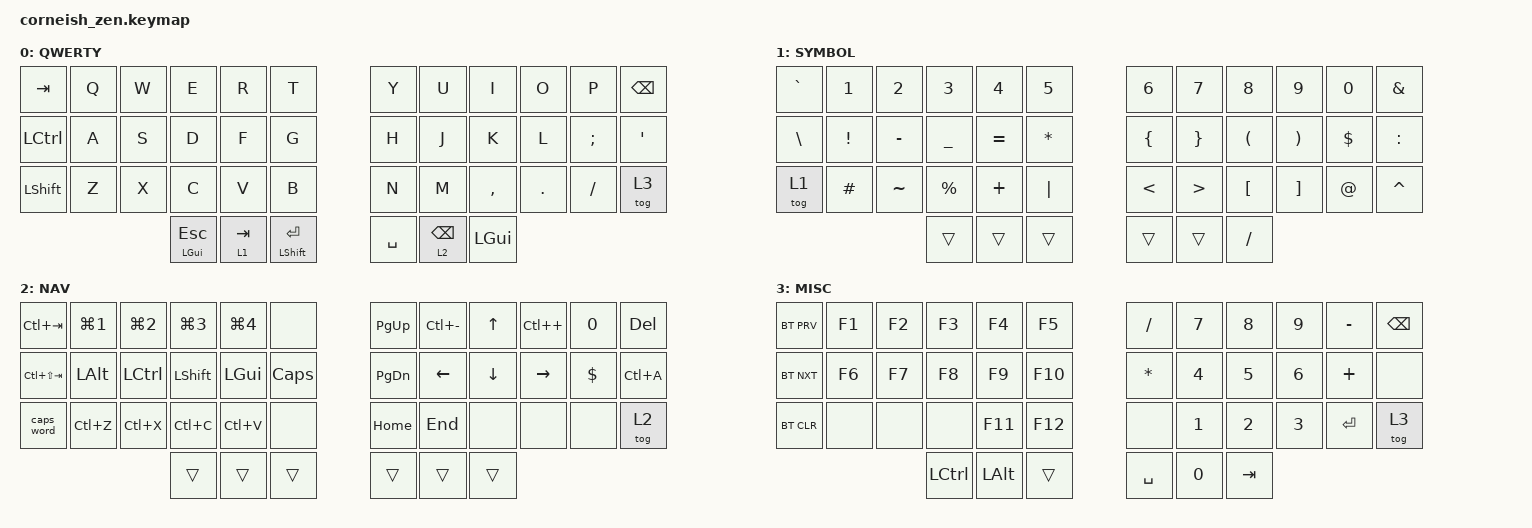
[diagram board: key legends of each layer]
/*
 * Copyright (c) 2020 The ZMK Contributors
 *
 * SPDX-License-Identifier: MIT
 */

#include <behaviors.dtsi>
#include <dt-bindings/zmk/bt.h>
#include <dt-bindings/zmk/keys.h>

&lt { quick-tap-ms = <120>; };

&mt { quick-tap-ms = <120>; };

/ {
    chosen {
        zmk,matrix_transform = &default_transform;

        // zmk,matrix_transform = &five_column_transform;
    };
};

/ {
    keymap {
        compatible = "zmk,keymap";

        default_layer {
            display-name = "QWERTY";

            // --------------------------------------------------------------------------------
            // |  TAB |  Q  |  W  |  E  |  R  |  T  |   |  Y  |  U   |  I  |  O  |  P  | BSPC |
            // | CTRL |  A  |  S  |  D  |  F  |  G  |   |  H  |  J   |  K  |  L  |  ;  |  '   |
            // | SHFT |  Z  |  X  |  C  |  V  |  B  |   |  N  |  M   |  ,  |  .  |  /  | ESC  |
            //                    | GUI | LWR | SPC |   | ENT | RSE  | ALT |

            bindings = <
&kp TAB         &kp Q  &kp W  &kp E                &kp R      &kp T                   &kp Y      &kp U            &kp I         &kp O    &kp P     &kp BSPC
&kp LCTRL       &kp A  &kp S  &kp D                &kp F      &kp G                   &kp H      &kp J            &kp K         &kp L    &kp SEMI  &kp SQT
&kp LEFT_SHIFT  &kp Z  &kp X  &kp C                &kp V      &kp B                   &kp N      &kp M            &kp COMMA     &kp DOT  &kp FSLH  &tog 3
                              &mt LEFT_GUI ESCAPE  &lt 1 TAB  &mt LEFT_SHIFT ENTER    &kp SPACE  &lt 2 BACKSPACE  &kp LEFT_GUI
            >;
        };

        sym_layer {
            display-name = "SYMBOL";

            // -----------------------------------------------------------------------------------------
            // |  TAB |  1  |  2  |  3  |  4  |  5  |   |  6  |  7  |  8  |  9  |  0  | BSPC |
            // | BTCLR| BT1 | BT2 | BT3 | BT4 | BT5 |   | LFT | DWN |  UP | RGT |     |      |
            // | SHFT |     |     |     |     |     |   |     |     |     |     |     |      |
            //                    | GUI |     | SPC |   | ENT |     | ALT |

            bindings = <
&kp GRAVE      &kp N1           &kp N2     &kp N3          &kp N4     &kp N5          &kp N6          &kp N7            &kp N8                &kp N9                 &kp N0       &kp AMPERSAND
&kp BACKSLASH  &kp EXCLAMATION  &kp MINUS  &kp UNDERSCORE  &kp EQUAL  &kp ASTERISK    &kp LEFT_BRACE  &kp RIGHT_BRACE   &kp LEFT_PARENTHESIS  &kp RIGHT_PARENTHESIS  &kp DOLLAR   &kp COLON
&tog 1         &kp HASH         &kp TILDE  &kp PERCENT     &kp PLUS   &kp PIPE        &kp LESS_THAN   &kp GREATER_THAN  &kp LEFT_BRACKET      &kp RIGHT_BRACKET      &kp AT_SIGN  &kp CARET
                                           &trans          &trans     &trans          &trans          &trans            &kp SLASH
            >;
        };

        nav_layer {
            display-name = "NAV";

            // -----------------------------------------------------------------------------------------
            // |  TAB |  !  |  @  |  #  |  $  |  %  |   |  ^  |  &  |  *  |  (  |  )  | BSPC |
            // | CTRL |     |     |     |     |     |   |  -  |  =  |  [  |  ]  |  \  |  `   |
            // | SHFT |     |     |     |     |     |   |  _  |  +  |  {  |  }  | "|" |  ~   |
            //                    | GUI |     | SPC |   | ENT |     | ALT |

            bindings = <
&kp LC(TAB)      &kp LG(NUMBER_1)  &kp LG(NUMBER_2)  &kp LG(NUMBER_3)  &kp LG(NUMBER_4)  &none           &kp PG_UP      &kp LC(MINUS)  &kp UP_ARROW    &kp LC(PLUS)  &kp N0      &kp DELETE
&kp LC(LS(TAB))  &kp LEFT_ALT      &kp LCTRL         &kp LEFT_SHIFT    &kp LGUI          &kp CAPSLOCK    &kp PAGE_DOWN  &kp LEFT       &kp DOWN_ARROW  &kp RIGHT     &kp DOLLAR  &kp LC(A)
&caps_word       &kp LC(Z)         &kp LC(X)         &kp LC(C)         &kp LC(V)         &none           &kp HOME       &kp END        &none           &none         &none       &tog 2
                                                     &trans            &trans            &trans          &trans         &trans         &trans
            >;
        };

        misc_layer {
            bindings = <
&bt BT_PRV  &kp F1  &kp F2  &kp F3     &kp F4        &kp F5     &kp SLASH     &kp N7        &kp N8        &kp N9        &kp MINUS  &kp BACKSPACE
&bt BT_NXT  &kp F6  &kp F7  &kp F8     &kp F9        &kp F10    &kp ASTERISK  &kp NUMBER_4  &kp N5        &kp NUMBER_6  &kp PLUS   &none
&bt BT_CLR  &none   &none   &none      &kp F11       &kp F12    &none         &kp NUMBER_1  &kp NUMBER_2  &kp NUMBER_3  &kp ENTER  &tog 3
                            &kp LCTRL  &kp LEFT_ALT  &trans     &kp SPACE     &kp NUMBER_0  &kp TAB
            >;

            label = "MISC";
        };
    };
};
